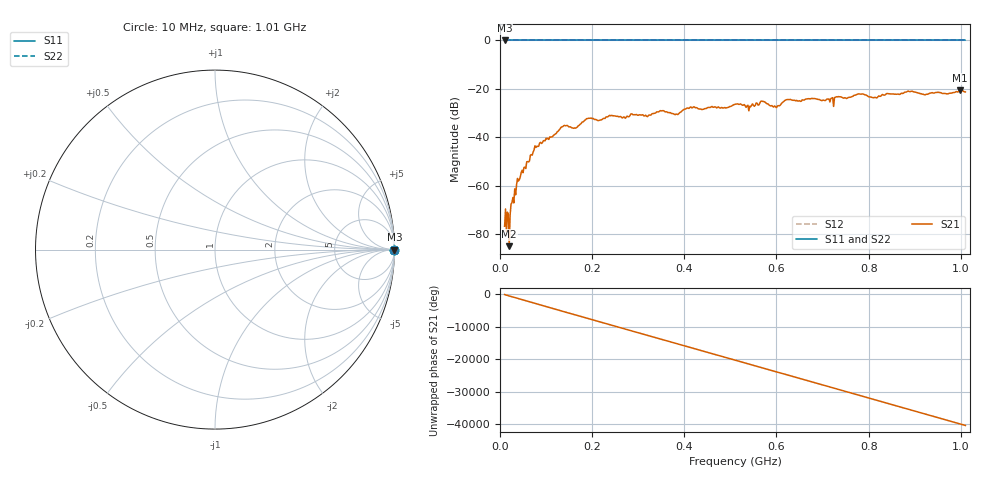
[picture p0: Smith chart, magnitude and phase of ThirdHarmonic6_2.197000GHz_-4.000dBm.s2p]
! 8/17/2025 2:11:10 AM
! C:\ANRITSUVNA\TEMP\TEMP.S2P
! CHANNEL.1
! TR.MEASUREMENT
! RAW.DATA
! RF.CORRECTION.OFF
! AVERAGING.OFF
! IF.BANDWIDTH: 5KHZ
! SWEEPTYPE:  FREQ.SWEEP(Linear)
! Reference Plane Port Info
! PORT:  PORT1  PORT2
! DISTANCE:  0  m  0  m
! TIME:  0  s  0  s
! PHASE.OFFSET:  0  deg.  0  deg.
! LOSS:  0  dB  0  dB
! REF.LOSS:  0  dB  0  dB
! REF.FREQ:  0  Hz  0  Hz
! Power Info
! POWER:  -20  dBm  -20  dBm
! EFF.POWER:  -20  dBm  -20  dBm
! SOURCE.ATTEN:  0  dB  0  dB
! TEST.ATTEN:  0  dB  0  dB
# GHZ S RI R 50.0
! FREQ.GHZ  S11RE  S11IM  S21RE  S21IM  S12RE  S12IM  S22RE  S22IM
!; PortSelection: Port_12
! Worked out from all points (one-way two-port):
!   501 points, 10 MHz to 1.01 GHz, reference 50 ohm
!   highest |S21| = -20.56 dB at 998 MHz (marker M1); lowest = -84.9 dB at 20 MHz (marker M2)
!   lowest |S11| = 0.0 dB at 10 MHz (marker M3)
!   |S11| at or under -10 dB: nowhere
!   |S22| runs from 0.0 to 0.0 dB; largest |S21 - S12| = 1.1
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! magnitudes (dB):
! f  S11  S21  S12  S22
! 10 MHz  0.0  -76.7  0.0  0.0
! 14 MHz  0.0  -78.9  0.0  0.0
! 18 MHz  0.0  -71.7  0.0  0.0
! 20 MHz  0.0  -84.9  0.0  0.0
! 42 MHz  0.0  -57.4  0.0  0.0
! 76 MHz  0.0  -43.5  0.0  0.0
! 136 MHz  0.0  -35.6  0.0  0.0
! 162 MHz  0.0  -36.1  0.0  0.0
! 178 MHz  0.0  -33.8  0.0  0.0
! 192 MHz  0.0  -32.1  0.0  0.0
! 344 MHz  0.0  -29.5  0.0  0.0
! 382 MHz  0.0  -30.4  0.0  0.0
! 410 MHz  0.0  -28.1  0.0  0.0
! 510 MHz  0.0  -26.3  0.0  0.0
! 538 MHz  0.0  -26.7  0.0  0.0
! 570 MHz  0.0  -25.1  0.0  0.0
! 596 MHz  0.0  -27.0  0.0  0.0
! 622 MHz  0.0  -24.4  0.0  0.0
! 678 MHz  0.0  -23.9  0.0  0.0
! 844 MHz  0.0  -22.0  0.0  0.0
! 998 MHz  0.0  -20.6  0.0  0.0
! 1.01 GHz  0.0  -21.2  0.0  0.0
